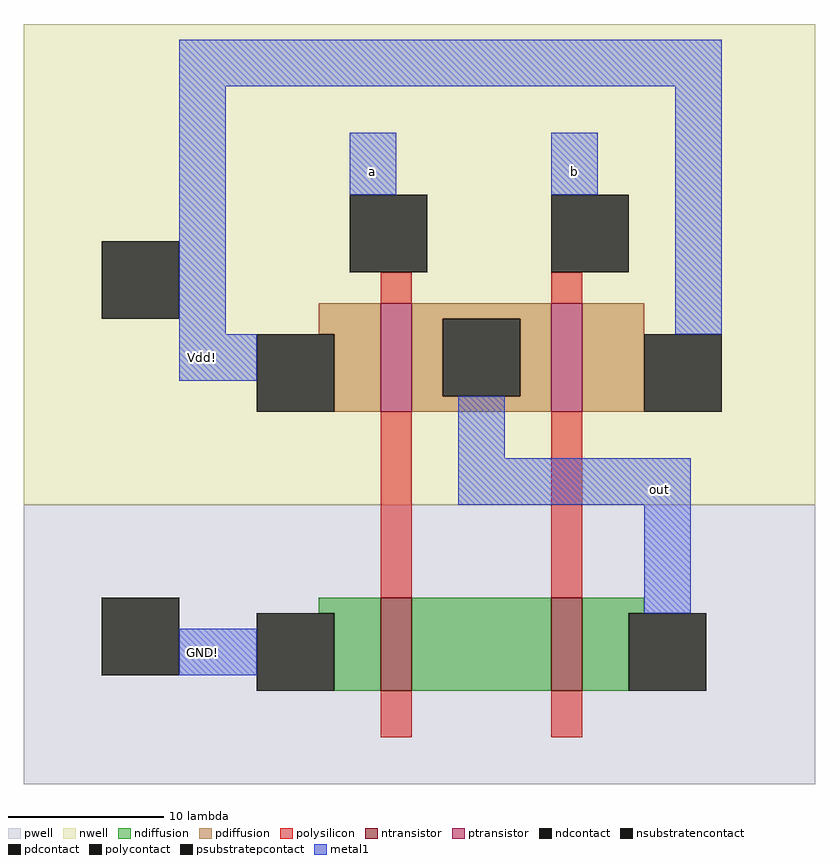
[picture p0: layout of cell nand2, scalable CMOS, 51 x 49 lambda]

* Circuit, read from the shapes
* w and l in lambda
.subckt nand2 GND! Vdd! a b out
M1 n1 a GND! GND! nfet w=6 l=2
M2 out b n1 GND! nfet w=6 l=2
M3 out a Vdd! Vdd! pfet w=7 l=2
M4 Vdd! b out Vdd! pfet w=7 l=2
.ends

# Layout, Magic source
magic
tech scmos
<< nwell >>
rect -20 -4 31 27
<< pwell >>
rect -20 -22 31 -4
<< ntransistor >>
rect 3 -16 5 -10
rect 14 -16 16 -10
<< ptransistor >>
rect 3 2 5 9
rect 14 2 16 9
<< ndiffusion >>
rect -1 -11 3 -10
rect 0 -16 3 -11
rect 5 -16 14 -10
rect 16 -11 20 -10
rect 16 -16 19 -11
<< pdiffusion >>
rect -1 7 3 9
rect 0 2 3 7
rect 5 8 14 9
rect 5 3 7 8
rect 12 3 14 8
rect 5 2 14 3
rect 16 2 20 9
<< ndcontact >>
rect -5 -16 0 -11
rect 19 -16 24 -11
<< pdcontact >>
rect -5 2 0 7
rect 7 3 12 8
rect 20 2 25 7
<< psubstratepcontact >>
rect -15 -15 -10 -10
<< nsubstratencontact >>
rect -15 8 -10 13
<< polysilicon >>
rect 3 9 5 11
rect 14 9 16 11
rect 3 -10 5 2
rect 14 -10 16 2
rect 3 -19 5 -16
rect 14 -19 16 -16
<< polycontact >>
rect 1 11 6 16
rect 14 11 19 16
<< metal1 >>
rect -10 23 25 26
rect -10 7 -7 23
rect 1 16 4 20
rect 14 16 17 20
rect -10 4 -5 7
rect 22 7 25 23
rect 8 -1 11 3
rect 8 -4 23 -1
rect 20 -11 23 -4
rect -10 -15 -5 -12
<< labels >>
rlabel metal1 2 17 3 18 5 a
rlabel metal1 -9 5 -8 6 3 Vdd!
rlabel metal1 -9 -14 -8 -13 3 GND!
rlabel metal1 20 -4 22 -2 1 out
rlabel metal1 15 17 16 18 5 b
<< end >>
